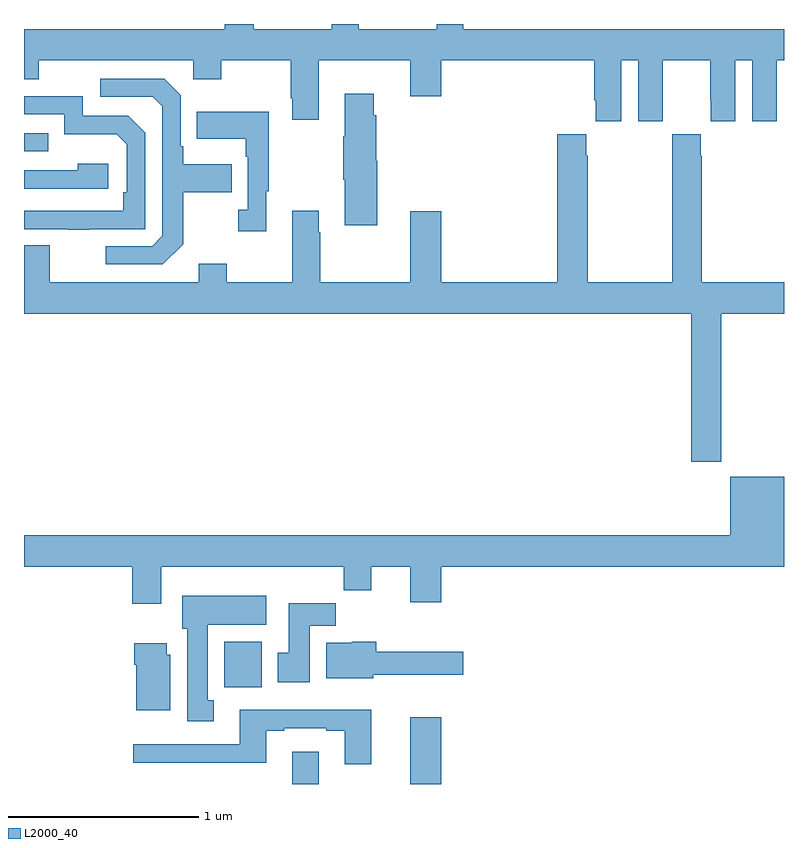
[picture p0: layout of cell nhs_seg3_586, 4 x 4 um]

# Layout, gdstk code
import gdstk
lib = gdstk.Library(unit=1e-6, precision=1e-09)
def R(c, l, rs):  # rectangles x0, y0, x1, y1
    for r in rs: c.add(gdstk.rectangle(r[:2], r[2:], *l))
def P(c, l, *ps):  # polygons
    for p in ps: c.add(gdstk.Polygon(p, *l))
L2000_40 = (2000, 40)

nhs_seg3_586 = lib.new_cell('nhs_seg3_586')
R(nhs_seg3_586, L2000_40, [(140.411,738.4,140.551,738.571), (141.032,738.4,141.196,738.751), (140.054,738.908,140.251,739.15), (139,741.729,139.127,741.825)])
P(nhs_seg3_586, L2000_40, [(142.144,742.208),(142.232,742.208),(142.232,741.888),(142.362,741.888),(142.362,742),(142.363,742),(142.363,742.208),(142.613,742.208),(142.613,742),(142.614,742),(142.614,741.888),(142.744,741.888),(142.744,742.208),(142.832,742.208),(142.832,741.888),(142.962,741.888),(142.962,742),(142.963,742),(142.963,742.208),(143,742.208),(143,742.372),(141.313,742.372),(141.313,742.4),(141.173,742.4),(141.173,742.372),(140.761,742.372),(140.761,742.4),(140.621,742.4),(140.621,742.372),(140.209,742.372),(140.209,742.4),(140.057,742.4),(140.057,742.372),(139,742.372),(139,742.109),(139.077,742.109),(139.077,742.208),(139.89,742.208),(139.89,742.109),(140.037,742.109),(140.037,742.208),(140.404,742.208),(140.404,742.009),(140.411,742.009),(140.411,741.897),(140.551,741.897),(140.551,742.208),(141.032,742.208),(141.032,742.02),(141.196,742.02),(141.196,742.208),(142.001,742.208),(142.001,742),(142.01,742),(142.01,741.888),(142.144,741.888)],
  [(139.837,741.241),(139.837,741.514),(140.093,741.514),(140.093,741.661),(139.837,741.661),(139.837,741.757),(139.824,741.757),(139.824,742.026),(139.737,742.113),(139.401,742.113),(139.401,742.017),(139.677,742.017),(139.728,741.966),(139.728,741.285),(139.674,741.231),(139.431,741.231),(139.431,741.135),(139.731,741.135)],
  [(140.86,741.681),(140.855,741.681),(140.855,741.92),(140.842,741.92),(140.842,742.033),(140.687,742.033),(140.687,741.809),(140.68,741.809),(140.68,741.581),(140.687,741.581),(140.687,741.341),(140.86,741.341)],
  [(139.343,741.321),(139.638,741.321),(139.638,741.828),(139.548,741.918),(139.308,741.918),(139.308,742.02),(139,742.02),(139,741.924),(139.212,741.924),(139.212,741.821),(139.489,741.821),(139.542,741.768),(139.542,741.514),(139.522,741.514),(139.522,741.417),(139,741.417),(139,741.321),(139.231,741.321),(139.231,741.316),(139.343,741.316)],
  [(140.275,741.521),(140.287,741.521),(140.287,741.937),(139.909,741.937),(139.909,741.797),(140.166,741.797),(140.166,741.701),(140.178,741.701),(140.178,741.422),(140.127,741.422),(140.127,741.309),(140.275,741.309)],
  [(142.671,740.876),(143,740.876),(143,741.04),(142.566,741.04),(142.566,741.707),(142.563,741.707),(142.563,741.82),(142.413,741.82),(142.413,741.707),(142.411,741.707),(142.411,741.04),(141.966,741.04),(141.966,741.707),(141.959,741.707),(141.959,741.82),(141.806,741.82),(141.806,741.04),(141.196,741.04),(141.196,741.415),(141.032,741.415),(141.032,741.04),(140.559,741.04),(140.559,741.305),(140.551,741.305),(140.551,741.418),(140.411,741.418),(140.411,741.04),(140.067,741.04),(140.067,741.139),(139.919,741.139),(139.919,741.04),(139.135,741.04),(139.135,741.235),(139,741.235),(139,740.876),(142.511,740.876),(142.511,740.097),(142.671,740.097)],
  [(139.444,741.664),(139.283,741.664),(139.283,741.63),(139,741.63),(139,741.534),(139.444,741.534)],
  [(139.723,739.544),(140.683,739.544),(140.683,739.42),(140.827,739.42),(140.827,739.544),(141.032,739.544),(141.032,739.356),(141.196,739.356),(141.196,739.544),(143,739.544),(143,740.017),(142.718,740.017),(142.718,739.708),(139,739.708),(139,739.544),(139.571,739.544),(139.571,739.35),(139.723,739.35)],
  [(139.999,738.842),(139.966,738.842),(139.966,739.238),(140.275,739.238),(140.275,739.39),(139.832,739.39),(139.832,739.218),(139.859,739.218),(139.859,738.729),(139.999,738.729)],
  [(140.503,739.232),(140.642,739.232),(140.642,739.351),(140.393,739.351),(140.393,739.092),(140.336,739.092),(140.336,738.936),(140.503,738.936)],
  [(140.838,738.974),(141.313,738.974),(141.313,739.096),(140.855,739.096),(140.855,739.15),(140.724,739.15),(140.724,739.144),(140.591,739.144),(140.591,738.956),(140.838,738.956)],
  [(139.771,739.08),(139.75,739.08),(139.75,739.141),(139.58,739.141),(139.58,739.028),(139.592,739.028),(139.592,738.788),(139.771,738.788)],
  [(140.827,738.79),(140.135,738.79),(140.135,738.609),(139.575,738.609),(139.575,738.512),(140.275,738.512),(140.275,738.681),(140.371,738.681),(140.371,738.693),(140.591,738.693),(140.591,738.681),(140.687,738.681),(140.687,738.504),(140.827,738.504)])

lib.write_gds('nhs_seg3_586.gds')
